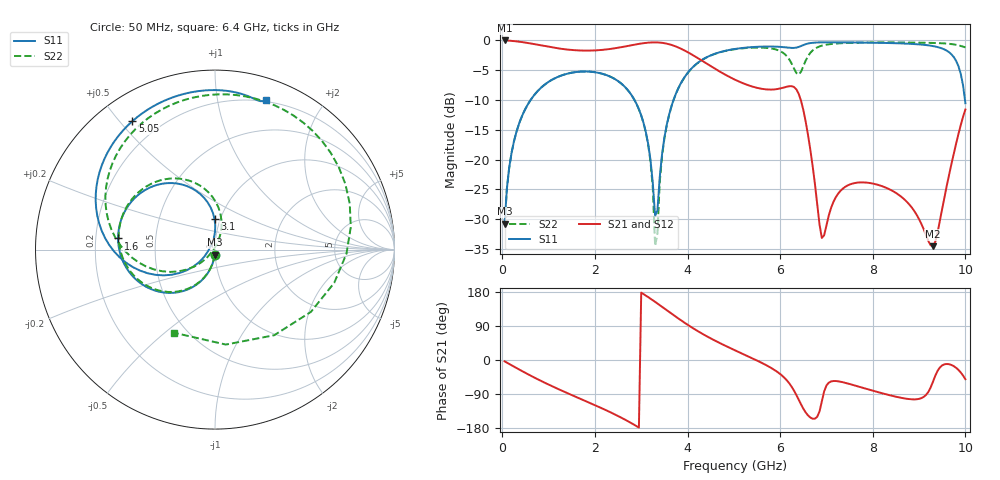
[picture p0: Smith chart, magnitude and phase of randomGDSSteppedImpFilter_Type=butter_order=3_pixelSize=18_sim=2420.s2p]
! freq	dB(S11)	phase(S11)	dB(S12)	phase(S12)
!  dB(S21)	phase(S21)	dB(S22)	phase(S22)
!S-par simulation data
#  GHz  S  DB  R 50
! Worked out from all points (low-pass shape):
!   200 points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, 50 MHz to 10 GHz, reference 50 ohm
!   highest |S21| = -0.01 dB at 50 MHz (marker M1); lowest = -34.5 dB at 9.3 GHz (marker M2)
!   |S21| within 3 dB of the highest: start of sweep to 4.229 GHz
!   lowest |S11| = -30.8 dB at 50 MHz (marker M3), VSWR 1.06, Z = 49.7 - j2.88 ohm
!   |S11| at or under -10 dB: start of sweep to 611.2 MHz; 2.855 GHz to 3.697 GHz (841.6 MHz wide, 25.7 % of centre); 9.99095 GHz to end of sweep
!   |S22| runs from -34.5 to -0.3 dB; largest |S21 - S12| = 0
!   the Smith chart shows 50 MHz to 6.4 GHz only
!   S11 on the Smith chart (normalised r, x): 50 MHz: 0.99, -0.06; 1.6 GHz: 0.30, +0.05; 3.1 GHz: 0.94, +0.33; 5.05 GHz: 0.10, +0.54; 6.4 GHz: 0.19, +1.39
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0.05  -30.76 -93.6  -0.01 -3.5  -0.01 -3.5  -30.78 -93.4
0.45  -12.26 -120.9  -0.31 -30.8  -0.31 -30.8  -12.26 -121.7
1.6  -5.30 173.4  -1.66 -97.8  -1.66 -97.8  -5.29 170.2
1.75  -5.21 165.7  -1.71 -105.8  -1.71 -105.8  -5.21 162.1
3.1  -15.38 90.9  -0.42 170.0  -0.42 170.0  -15.46 77.8
3.25  -23.92 95.9  -0.33 157.7  -0.33 157.7  -24.73 69.0
3.3  -29.44 125.6  -0.33 153.4  -0.33 153.4  -34.46 79.6
3.4  -22.94 -146.5  -0.36 144.8  -0.36 144.8  -23.73 -134.8
3.9  -6.59 -168.0  -1.55 101.3  -1.55 101.3  -6.62 -174.7
5.05  -1.40 122.7  -6.68 24.1  -6.68 24.1  -1.45 104.5
5.7  -1.03 93.9  -8.22 -13.7  -8.22 -13.7  -1.25 59.6
6.1  -1.15 78.3  -7.86 -47.9  -7.86 -47.9  -2.31 9.4
6.25  -1.26 74.0  -7.68 -70.9  -7.68 -70.9  -3.92 -33.0
6.4  -1.10 71.0  -8.95 -104.6  -8.95 -104.6  -5.73 -116.5
6.55  -0.64 65.8  -13.57 -138.1  -13.57 -138.1  -3.41 158.6
6.7  -0.40 58.9  -20.98 -154.9  -20.98 -154.9  -1.69 114.5
6.9  -0.33 50.2  -33.12 -109.6  -33.12 -109.6  -0.89 83.3
7.5  -0.34 27.0  -24.17 -63.3  -24.17 -63.3  -0.41 37.6
8.35  -0.44 -4.4  -24.93 -92.5  -24.93 -92.5  -0.34 -2.4
9.3  -0.95 -45.1  -34.50 -57.4  -34.50 -57.4  -0.42 -39.7
9.75  -2.81 -82.5  -18.95 -16.3  -18.95 -16.3  -0.67 -57.1
10  -10.54 -145.9  -11.59 -50.7  -11.59 -50.7  -1.17 -65.8
